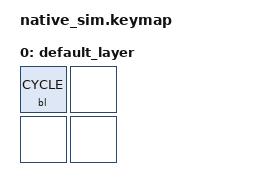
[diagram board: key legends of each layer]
#include <behaviors.dtsi>
#include <dt-bindings/zmk/keys.h>
#include <dt-bindings/zmk/kscan_mock.h>
#include <dt-bindings/zmk/backlight.h>

/ {
    chosen {
        zmk,backlight = &backlight;
    };

    backlight: leds {
        compatible = "gpio-leds";

        led_0 {
            gpios = <&gpio0 0 GPIO_ACTIVE_HIGH>;
        };

        led_1 {
            gpios = <&gpio0 1 GPIO_ACTIVE_HIGH>;
        };
    };

    keymap {
        compatible = "zmk,keymap";

        default_layer {
            bindings = <&bl BL_CYCLE &none
                        &none &none>;
        };
    };
};

&kscan {
    events = <
              /* BL_CYCLE */
              ZMK_MOCK_PRESS(0,0,10)
              ZMK_MOCK_RELEASE(0,0,10)
              /* BL_CYCLE */
              ZMK_MOCK_PRESS(0,0,10)
              ZMK_MOCK_RELEASE(0,0,10)
              /* BL_CYCLE */
              ZMK_MOCK_PRESS(0,0,10)
              ZMK_MOCK_RELEASE(0,0,10)
              /* BL_CYCLE */
              ZMK_MOCK_PRESS(0,0,10)
              ZMK_MOCK_RELEASE(0,0,10)
              /* BL_CYCLE */
              ZMK_MOCK_PRESS(0,0,10)
              ZMK_MOCK_RELEASE(0,0,10)
              /* BL_CYCLE */
              ZMK_MOCK_PRESS(0,0,10)
              ZMK_MOCK_RELEASE(0,0,10)
              /* BL_CYCLE */
              ZMK_MOCK_PRESS(0,0,10)
              ZMK_MOCK_RELEASE(0,0,10)
              /* BL_CYCLE */
              ZMK_MOCK_PRESS(0,0,10)
              ZMK_MOCK_RELEASE(0,0,10)
              /* BL_CYCLE */
              ZMK_MOCK_PRESS(0,0,10)
              ZMK_MOCK_RELEASE(0,0,10)
              /* BL_CYCLE */
              ZMK_MOCK_PRESS(0,0,10)
              ZMK_MOCK_RELEASE(0,0,10)
              /* BL_CYCLE */
              ZMK_MOCK_PRESS(0,0,10)
              ZMK_MOCK_RELEASE(0,0,10)
              /* BL_CYCLE */
              ZMK_MOCK_PRESS(0,0,10)
              ZMK_MOCK_RELEASE(0,0,10)
              /* BL_CYCLE */
              ZMK_MOCK_PRESS(0,0,10)
              ZMK_MOCK_RELEASE(0,0,10)>;
};
